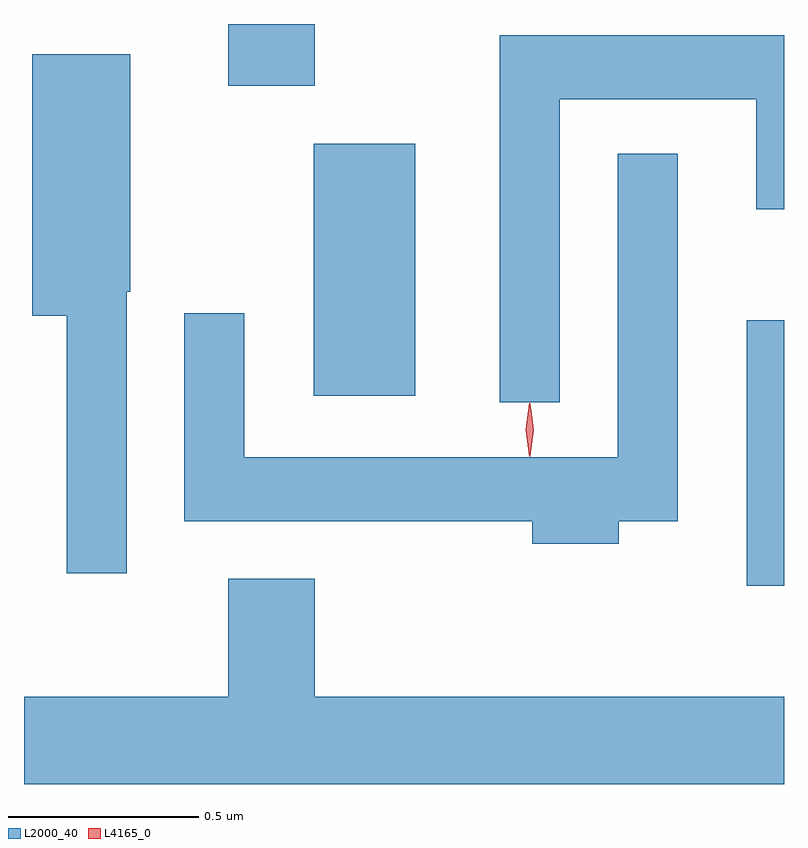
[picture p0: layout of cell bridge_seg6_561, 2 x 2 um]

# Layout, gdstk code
import gdstk
lib = gdstk.Library(unit=1e-6, precision=1e-09)
def R(c, l, rs):  # rectangles x0, y0, x1, y1
    for r in rs: c.add(gdstk.rectangle(r[:2], r[2:], *l))
def P(c, l, *ps):  # polygons
    for p in ps: c.add(gdstk.Polygon(p, *l))
L2000_40 = (2000, 40)
L4165_0 = (4165, 0)

bridge_seg6_561 = lib.new_cell('bridge_seg6_561')
R(bridge_seg6_561, L2000_40, [(538.676,1650.496,538.774,1651.194), (537.536,1650.996,537.804,1651.659), (537.311,1651.811,537.539,1651.974)])
P(bridge_seg6_561, L2000_40, [(538.184,1651.776),(538.701,1651.776),(538.701,1651.486),(538.774,1651.486),(538.774,1651.944),(538.026,1651.944),(538.026,1650.978),(538.184,1650.978)],
  [(537.044,1651.27),(537.054,1651.27),(537.054,1651.894),(536.796,1651.894),(536.796,1651.206),(536.886,1651.206),(536.886,1650.528),(537.044,1650.528)],
  [(538.339,1650.666),(538.494,1650.666),(538.494,1651.633),(538.336,1651.633),(538.336,1650.834),(537.354,1650.834),(537.354,1651.213),(537.196,1651.213),(537.196,1650.666),(538.111,1650.666),(538.111,1650.606),(538.339,1650.606)],
  [(538.774,1650.204),(537.539,1650.204),(537.539,1650.514),(537.311,1650.514),(537.311,1650.204),(536.774,1650.204),(536.774,1649.974),(538.774,1649.974)])
P(bridge_seg6_561, L4165_0, [(538.104,1650.837),(538.095,1650.906),(538.104,1650.976),(538.105,1650.976),(538.106,1650.976),(538.115,1650.906),(538.106,1650.837),(538.105,1650.837)],
  [(538.104,1650.839),(538.103,1650.84),(538.094,1650.906),(538.103,1650.972),(538.104,1650.973),(538.104,1650.972),(538.114,1650.906),(538.104,1650.84)])

lib.write_gds('bridge_seg6_561.gds')
